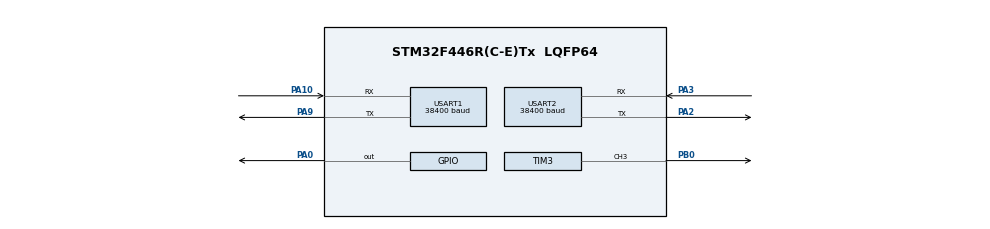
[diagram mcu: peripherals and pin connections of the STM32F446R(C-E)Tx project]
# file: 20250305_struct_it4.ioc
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Mcu.Family=STM32F4
Mcu.Name=STM32F446R(C-E)Tx
Mcu.Package=LQFP64
NVIC.PriorityGroup=NVIC_PRIORITYGROUP_4
NVIC.USART1_IRQn=true\:0\:0\:false\:false\:true\:true\:true\:true
PA0-WKUP.Signal=GPIO_Output
PA10.Mode=Asynchronous
PA10.Signal=USART1_RX
PA2.Mode=Asynchronous
PA2.Signal=USART2_TX
PA3.Mode=Asynchronous
PA3.Signal=USART2_RX
PA9.Mode=Asynchronous
PA9.Signal=USART1_TX
PB0.Signal=S_TIM3_CH3
ProjectManager.HeapSize=0x200
ProjectManager.StackSize=0x400
ProjectManager.TargetToolchain=STM32CubeIDE
RCC.CortexFreq_Value=16000000
RCC.USBFreq_Value=96000000
RCC.VCOOutputFreq_Value=192000000
SH.S_TIM3_CH3.0=TIM3_CH3,PWM Generation3 CH3
TIM3.Channel-PWM\ Generation3\ CH3=TIM_CHANNEL_3
TIM3.OC3Preload_PWM=DISABLE
TIM3.Period=999
TIM3.Prescaler=83
USART1.BaudRate=38400
USART1.VirtualMode=VM_ASYNC
USART2.BaudRate=38400
USART2.VirtualMode=VM_ASYNC
board=custom

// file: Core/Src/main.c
/* USER CODE BEGIN Header */
/**
  ******************************************************************************
  * @file           : main.c
  * @brief          : Main program body
  ******************************************************************************
  * @attention
  *
  * Copyright (c) 2025 STMicroelectronics.
  * All rights reserved.
  *
  * This software is licensed under terms that can be found in the LICENSE file
  * in the root directory of this software component.
  * If no LICENSE file comes with this software, it is provided AS-IS.
  *
  ******************************************************************************
  */
/* USER CODE END Header */
#include "main.h"

/* USER CODE BEGIN Includes */
#include <stdio.h>
#include "USART_Arduino.h"
#include "STprintf.h"
#include "manydef.h"
/* USER CODE END Includes */

TIM_HandleTypeDef htim3;

UART_HandleTypeDef huart1;
UART_HandleTypeDef huart2;

void SystemClock_Config(void);
static void MX_GPIO_Init(void);
static void MX_USART1_UART_Init(void);
static void MX_USART2_UART_Init(void);
static void MX_TIM3_Init(void);

/* USER CODE BEGIN 0 */
getdata DATA;
//time_t st_time;
/* USER CODE END 0 */

int main(void)
{

  /* MCU Configuration--------------------------------------------------------*/

  /* Reset of all peripherals, Initializes the Flash interface and the Systick. */
  HAL_Init();

  /* Configure the system clock */
  SystemClock_Config();

  /* Initialize all configured peripherals */
  MX_GPIO_Init();
  MX_USART1_UART_Init();
  MX_USART2_UART_Init();
  MX_TIM3_Init();
  /* USER CODE BEGIN 2 */
  STprintf(&huart2);
  int outcount = 0;
  /* USER CODE END 2 */

  /* Infinite loop */
  /* USER CODE BEGIN WHILE */
  while (1)
  {
	  HAL_TIM_PWM_Start(&htim3, TIM_CHANNEL_3);
    /* USER CODE END WHILE */

    /* USER CODE BEGIN 3 */

//	  getDataIT(&huart1);
//	  AllShowP(data);
//	  getDataIT(&huart1);
//	  if(data.RE == 1){
	  if(getDataIT(&huart1) == 1){
		  FAF = 0;
		  AllShowP(data);
		  HAL_GPIO_WritePin(PA, P0, 1);
		  __HAL_TIM_SET_COMPARE(&htim3,TIM_CHANNEL_3,data.LY);
	  }else {
		  outcount++;
		  if(outcount >= TIMEOUT_MAX * 10){
			  printf("main timeout\r\n");
			  HAL_GPIO_WritePin(PA, P0, 0);
			  HAL_GPIO_WritePin(PB, P0, 0);
			  outcount = 0;
		  }
	  }
//	  AllShowP(data);

//	  if(getData(&huart1,&DATA) == 0){
//		  AllShowP(DATA);
//		  HAL_GPIO_WritePin(PA, P0, 1);
//		  __HAL_TIM_SET_COMPARE(&htim3,TIM_CHANNEL_3,DATA.LY);
//	  }else{
//		  outcount++;
//		  if(outcount >= TIMEOUT_MAX * 10){
//			  printf("main timeout\r\n");
//			  HAL_GPIO_WritePin(PA, P0, 0);
//			  HAL_GPIO_WritePin(PB, P0, 0);
//			  outcount = 0;
//		  }
//	  }

  }
  /* USER CODE END 3 */
}

void SystemClock_Config(void)
{
  RCC_OscInitTypeDef RCC_OscInitStruct = {0};
  RCC_ClkInitTypeDef RCC_ClkInitStruct = {0};

  /** Configure the main internal regulator output voltage
  */
  __HAL_RCC_PWR_CLK_ENABLE();
  __HAL_PWR_VOLTAGESCALING_CONFIG(PWR_REGULATOR_VOLTAGE_SCALE3);

  /** Initializes the RCC Oscillators according to the specified parameters
  * in the RCC_OscInitTypeDef structure.
  */
  RCC_OscInitStruct.OscillatorType = RCC_OSCILLATORTYPE_HSI;
  RCC_OscInitStruct.HSIState = RCC_HSI_ON;
  RCC_OscInitStruct.HSICalibrationValue = RCC_HSICALIBRATION_DEFAULT;
  RCC_OscInitStruct.PLL.PLLState = RCC_PLL_NONE;
  if (HAL_RCC_OscConfig(&RCC_OscInitStruct) != HAL_OK)
  {
    Error_Handler();
  }

  /** Initializes the CPU, AHB and APB buses clocks
  */
  RCC_ClkInitStruct.ClockType = RCC_CLOCKTYPE_HCLK|RCC_CLOCKTYPE_SYSCLK
                              |RCC_CLOCKTYPE_PCLK1|RCC_CLOCKTYPE_PCLK2;
  RCC_ClkInitStruct.SYSCLKSource = RCC_SYSCLKSOURCE_HSI;
  RCC_ClkInitStruct.AHBCLKDivider = RCC_SYSCLK_DIV1;
  RCC_ClkInitStruct.APB1CLKDivider = RCC_HCLK_DIV1;
  RCC_ClkInitStruct.APB2CLKDivider = RCC_HCLK_DIV1;

  if (HAL_RCC_ClockConfig(&RCC_ClkInitStruct, FLASH_LATENCY_0) != HAL_OK)
  {
    Error_Handler();
  }
}

static void MX_TIM3_Init(void)
{

  TIM_MasterConfigTypeDef sMasterConfig = {0};
  TIM_OC_InitTypeDef sConfigOC = {0};

  htim3.Instance = TIM3;
  htim3.Init.Prescaler = 83;
  htim3.Init.CounterMode = TIM_COUNTERMODE_UP;
  htim3.Init.Period = 999;
  htim3.Init.ClockDivision = TIM_CLOCKDIVISION_DIV1;
  htim3.Init.AutoReloadPreload = TIM_AUTORELOAD_PRELOAD_DISABLE;
  if (HAL_TIM_PWM_Init(&htim3) != HAL_OK)
  {
    Error_Handler();
  }
  sMasterConfig.MasterOutputTrigger = TIM_TRGO_RESET;
  sMasterConfig.MasterSlaveMode = TIM_MASTERSLAVEMODE_DISABLE;
  if (HAL_TIMEx_MasterConfigSynchronization(&htim3, &sMasterConfig) != HAL_OK)
  {
    Error_Handler();
  }
  sConfigOC.OCMode = TIM_OCMODE_PWM1;
  sConfigOC.Pulse = 0;
  sConfigOC.OCPolarity = TIM_OCPOLARITY_HIGH;
  sConfigOC.OCFastMode = TIM_OCFAST_DISABLE;
  if (HAL_TIM_PWM_ConfigChannel(&htim3, &sConfigOC, TIM_CHANNEL_3) != HAL_OK)
  {
    Error_Handler();
  }
  __HAL_TIM_DISABLE_OCxPRELOAD(&htim3, TIM_CHANNEL_3);
  HAL_TIM_MspPostInit(&htim3);

}

static void MX_USART1_UART_Init(void)
{

  huart1.Instance = USART1;
  huart1.Init.BaudRate = 38400;
  huart1.Init.WordLength = UART_WORDLENGTH_8B;
  huart1.Init.StopBits = UART_STOPBITS_1;
  huart1.Init.Parity = UART_PARITY_NONE;
  huart1.Init.Mode = UART_MODE_TX_RX;
  huart1.Init.HwFlowCtl = UART_HWCONTROL_NONE;
  huart1.Init.OverSampling = UART_OVERSAMPLING_16;
  if (HAL_UART_Init(&huart1) != HAL_OK)
  {
    Error_Handler();
  }

}

static void MX_USART2_UART_Init(void)
{

  huart2.Instance = USART2;
  huart2.Init.BaudRate = 38400;
  huart2.Init.WordLength = UART_WORDLENGTH_8B;
  huart2.Init.StopBits = UART_STOPBITS_1;
  huart2.Init.Parity = UART_PARITY_NONE;
  huart2.Init.Mode = UART_MODE_TX_RX;
  huart2.Init.HwFlowCtl = UART_HWCONTROL_NONE;
  huart2.Init.OverSampling = UART_OVERSAMPLING_16;
  if (HAL_UART_Init(&huart2) != HAL_OK)
  {
    Error_Handler();
  }

}

static void MX_GPIO_Init(void)
{
  GPIO_InitTypeDef GPIO_InitStruct = {0};

  /* GPIO Ports Clock Enable */
  __HAL_RCC_GPIOA_CLK_ENABLE();
  __HAL_RCC_GPIOB_CLK_ENABLE();

  /*Configure GPIO pin Output Level */
  HAL_GPIO_WritePin(GPIOA, GPIO_PIN_0, GPIO_PIN_RESET);

  /*Configure GPIO pin : PA0 */
  GPIO_InitStruct.Pin = GPIO_PIN_0;
  GPIO_InitStruct.Mode = GPIO_MODE_OUTPUT_PP;
  GPIO_InitStruct.Pull = GPIO_NOPULL;
  GPIO_InitStruct.Speed = GPIO_SPEED_FREQ_LOW;
  HAL_GPIO_Init(GPIOA, &GPIO_InitStruct);

}

void Error_Handler(void)
{
  __disable_irq();
  while (1)
  {
  }
}
